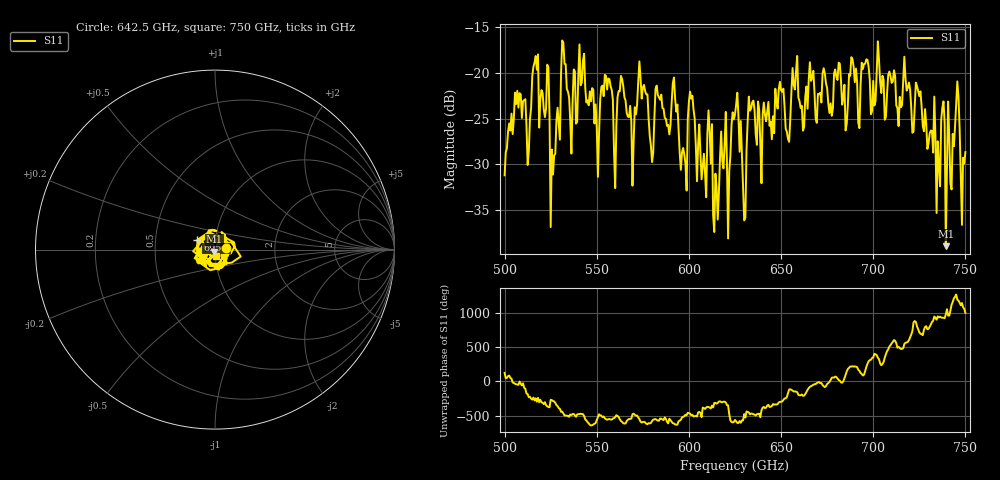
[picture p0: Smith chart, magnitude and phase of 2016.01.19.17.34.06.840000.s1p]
!Created with skrf (http://scikit-rf.org).
# GHz S RI R 50.0
!freq ReS11 ImS11
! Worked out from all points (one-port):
!   401 points, 500 GHz to 750 GHz, reference 50 ohm
!   lowest |S11| = -38.9 dB at 739.4 GHz (marker M1), VSWR 1.02, Z = 49.7 - j1.09 ohm
!   |S11| at or under -10 dB: start of sweep to end of sweep
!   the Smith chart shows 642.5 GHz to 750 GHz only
!   S11 on the Smith chart (normalised r, x): 642.5 GHz: 1.13, +0.02; 695.6 GHz: 0.82, +0.09; 750 GHz: 1.01, -0.07
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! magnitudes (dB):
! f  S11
! 500 GHz  -31.2
! 506.9 GHz  -22.0
! 513.1 GHz  -28.6
! 516.9 GHz  -18.2
! 526.2 GHz  -31.1
! 531.2 GHz  -16.5
! 535.6 GHz  -25.3
! 541.9 GHz  -21.1
! 550 GHz  -26.0
! 562.5 GHz  -22.0
! 568.8 GHz  -25.3
! 593.8 GHz  -23.5
! 597.5 GHz  -28.9
! 601.2 GHz  -22.8
! 608.1 GHz  -28.8
! 611.2 GHz  -26.4
! 614.4 GHz  -31.0
! 625 GHz  -24.5
! 630 GHz  -36.1
! 633.8 GHz  -23.9
! 642.5 GHz  -24.2
! 656.2 GHz  -19.5
! 687.5 GHz  -20.3
! 695.6 GHz  -19.0
! 718.8 GHz  -21.6
! 739.4 GHz  -38.9
! 745.6 GHz  -20.9
! 750 GHz  -28.6
